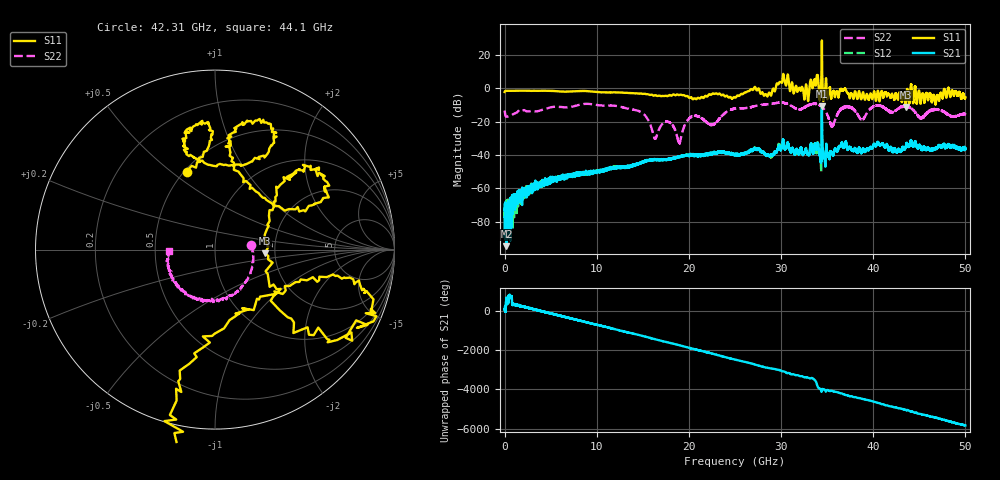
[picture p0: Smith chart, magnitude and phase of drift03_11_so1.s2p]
!Created with skrf (http://scikit-rf.org).
# Hz S RI R 50.0
!freq ReS11 ImS11 ReS21 ImS21 ReS12 ImS12 ReS22 ImS22
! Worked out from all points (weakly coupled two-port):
!   10000 points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, 5.3 MHz to 50 GHz, reference 50 ohm
!   highest |S21| = -10.66 dB at 34.43 GHz (marker M1); lowest = -94.8 dB at 205.3 MHz (marker M2)
!   lowest |S11| = -11.1 dB at 43.53 GHz (marker M3), VSWR 1.77, Z = 88.5 - j3.77 ohm
!   |S11| at or under -10 dB: 43.50378 GHz to 43.54283 GHz (39.04 MHz wide, 0.0897 % of centre); 43.54787 GHz to 43.55294 GHz (5.072 MHz wide, 0.0116 % of centre)
!   |S22| runs from -33.4 to -8.4 dB; largest |S21 - S12| = 0.084
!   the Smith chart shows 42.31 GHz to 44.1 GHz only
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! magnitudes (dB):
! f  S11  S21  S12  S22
! 5.3 MHz  -2.1  -89.2  -72.0  -13.3
! 205.3 MHz  -1.4  -94.8  -74.1  -17.0
! 2.855 GHz  -1.4  -59.4  -59.7  -13.6
! 8.34 GHz  -1.5  -50.7  -51.1  -9.5
! 14.51 GHz  -3.1  -45.4  -45.7  -13.4
! 16.67 GHz  -4.4  -42.8  -42.9  -25.8
! 17.81 GHz  -4.2  -42.4  -42.6  -20.1
! 18.96 GHz  -4.0  -41.2  -40.9  -33.3
! 20.27 GHz  -5.5  -40.2  -40.4  -17.1
! 22.56 GHz  -3.1  -39.1  -39.3  -22.0
! 25.01 GHz  -5.5  -39.9  -39.9  -12.2
! 28.72 GHz  -2.5  -40.5  -40.2  -9.4
! 30.14 GHz  4.4  -33.9  -34.0  -8.6
! 32.74 GHz  2.0  -37.0  -36.7  -10.7
! 33.34 GHz  2.6  -35.0  -35.1  -9.4
! 34.43 GHz  28.9  -10.7  -12.6  -10.9
! 35.54 GHz  -3.1  -38.9  -39.2  -23.0
! 37 GHz  -0.3  -32.3  -32.4  -10.7
! 38.75 GHz  -5.9  -38.2  -38.2  -18.9
! 41.67 GHz  -3.3  -37.3  -36.9  -13.5
! 43.53 GHz  -11.1  -34.9  -35.0  -10.7
! 50 GHz  -5.3  -36.0  -36.3  -15.5
